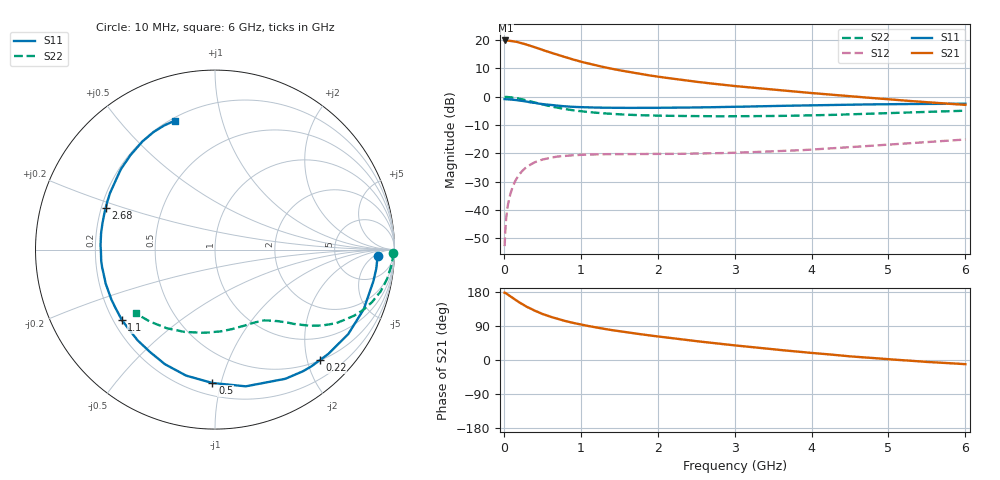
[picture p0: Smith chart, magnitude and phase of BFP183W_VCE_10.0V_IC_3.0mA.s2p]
! Infineon Technologies  Discrete & RF Semiconductors
! BFP183W
! VCE = 10.0V,  IC =  3.0 mA
! Common Emitter S-Parameters:  Jan 2016
# GHz  S  MA  R  50
!  f  S11  S21  S12  S22
! GHz  MAG  ANG  MAG  ANG  MAG  ANG  MAG  ANG
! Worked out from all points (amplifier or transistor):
!   210 points, 10 MHz to 6 GHz, reference 50 ohm
!   highest |S21| = 19.9 dB at 20 MHz (marker M1)
!   |S21| within 3 dB of that: start of sweep to 467 MHz
!   unconditionally stable (mu >= 1): 2.215 GHz to 5.88 GHz
!   at 185 MHz: K = 0.11, MSG = 23.7 dB, |S12| = -28.1 dB
!   at 1.52 GHz: K = 0.73, MSG = 14.8 dB, |S12| = -20.3 dB
!   at 6 GHz: K = 0.99, MSG = 6.1 dB, |S12| = -15.1 dB
!   S11 on the Smith chart (normalised r, x): 10 MHz: 17, -7; 220 MHz: 0.51, -2.23; 500 MHz: 0.28, -0.94; 1.1 GHz: 0.23, -0.32; 2.68 GHz: 0.22, +0.17; 6 GHz: 0.22, +0.71
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0.01  0.9067 -2.3  9.767 177.6  0.0023 89.2  0.9928 -1.0
0.02  0.9055 -4.5  9.841 177.1  0.0045 84.7  0.9896 -1.9
0.045  0.9007 -10.1  9.804 173.5  0.0105 83.3  0.9883 -4.4
0.1  0.8929 -21.8  9.61 165.8  0.0224 77.8  0.9729 -9.6
0.15  0.879 -32.4  9.418 158.7  0.0329 71.6  0.9517 -14.2
0.22  0.8489 -46.5  8.912 149.8  0.0457 64.2  0.9102 -19.9
0.3  0.8197 -61.4  8.29 140.2  0.0581 56.8  0.8572 -25.5
0.4  0.7809 -77.3  7.5 130.3  0.0695 48.9  0.7908 -31.2
0.5  0.7434 -91.1  6.732 121.6  0.0776 42.9  0.7316 -35.3
0.6  0.7203 -102.9  6.058 114.4  0.0835 38.0  0.6803 -38.6
0.7  0.6968 -113.6  5.495 108.3  0.0879 34.2  0.6391 -41.0
0.84  0.6696 -125.6  4.792 100.9  0.0913 29.9  0.5927 -44.0
1.02  0.6528 -138.1  4.091 92.9  0.0943 26.0  0.5504 -47.0
1.1  0.6505 -142.9  3.853 89.6  0.0953 24.8  0.5363 -48.1
1.42  0.6373 -159.3  3.083 78.4  0.0971 21.2  0.4977 -52.6
1.66  0.6355 -169.6  2.69 71.3  0.097 20.2  0.4771 -56.0
2.02  0.6382 177.8  2.243 61.6  0.0978 20.2  0.4628 -61.2
2.68  0.6514 159.3  1.722 45.8  0.0999 22.7  0.4521 -72.2
3.1  0.6669 149.4  1.5 36.6  0.1035 25.0  0.4531 -80.0
4.1  0.7089 130.2  1.131 17.1  0.119 30.7  0.4715 -101.3
5.1  0.7404 116.5  0.878 0.6  0.1452 33.2  0.518 -123.8
6  0.7523 107.4  0.718 -11.0  0.1757 32.3  0.567 -141.2
